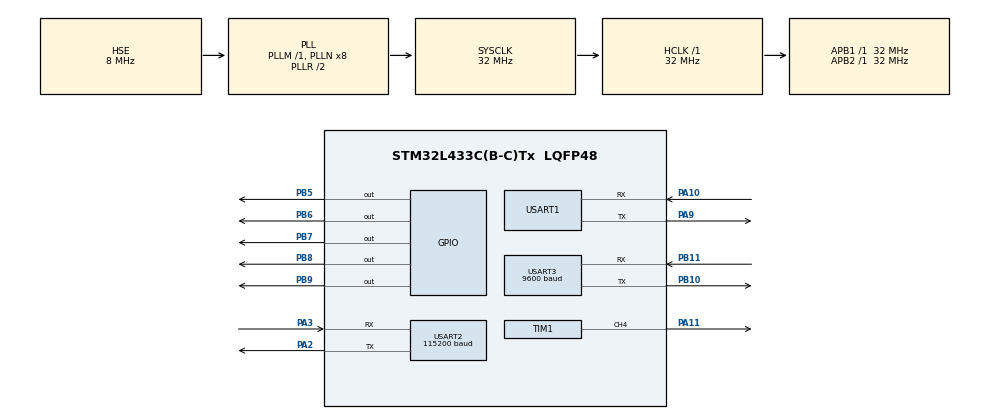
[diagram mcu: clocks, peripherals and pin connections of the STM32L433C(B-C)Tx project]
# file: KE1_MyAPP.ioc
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Mcu.Family=STM32L4
NVIC.USART3_IRQn=true\:1\:0\:true\:false\:true\:true\:true
RCC.MSI_VALUE=4000000
RCC.PLLSourceVirtual=RCC_PLLSOURCE_HSE
SH.S_TIM1_CH4.0=TIM1_CH4,PWM Generation4 CH4
RCC.CortexFreq_Value=32000000
TIM1.OCPolarity_4=TIM_OCPOLARITY_LOW
PA10.Mode=Asynchronous
PB10.Mode=Asynchronous
PH0-OSC_IN\ (PH0).Signal=RCC_OSC_IN
PC15-OSC32_OUT\ (PC15).Signal=RCC_OSC32_OUT
PC15-OSC32_OUT\ (PC15).Mode=LSE-External-Oscillator
PB11.Signal=USART3_RX
NVIC.USART2_IRQn=true\:3\:0\:true\:false\:true\:true\:true
USART2.BaudRate=115200
PH1-OSC_OUT\ (PH1).Signal=RCC_OSC_OUT
RCC.SYSCLKSource=RCC_SYSCLKSOURCE_PLLCLK
ProjectManager.StackSize=0x400
PC14-OSC32_IN\ (PC14).Mode=LSE-External-Oscillator
USART3.VirtualMode-Asynchronous=VM_ASYNC
USART1.VirtualMode-Asynchronous=VM_ASYNC
PA3.Mode=Asynchronous
TIM1.AutoReloadPreload=TIM_AUTORELOAD_PRELOAD_ENABLE
PA9.Mode=Asynchronous
TIM1.Prescaler=3200-1
USART3.BaudRate=9600
PB11.Mode=Asynchronous
ProjectManager.TargetToolchain=STM32CubeIDE
TIM1.Channel-PWM\ Generation4\ CH4=TIM_CHANNEL_4
RCC.HCLKFreq_Value=32000000
RCC.APB2TimFreq_Value=32000000
PA9.Signal=USART1_TX
PB6.Signal=GPIO_Output
PB5.PinState=GPIO_PIN_SET
RCC.USBFreq_Value=32000000
RCC.AHBFreq_Value=32000000
PB10.Signal=USART3_TX
PH1-OSC_OUT\ (PH1).Mode=HSE-External-Oscillator
RCC.HSE_VALUE=8000000
board=custom
USART2.VirtualMode-Asynchronous=VM_ASYNC
RCC.VCOOutputFreq_Value=64000000
RCC.APB2Freq_Value=32000000
RCC.ADCFreq_Value=32000000
PB7.Signal=GPIO_Output
Mcu.Name=STM32L433C(B-C)Tx
VP_TIM1_VS_ClockSourceINT.Mode=Internal
PA2.Signal=USART2_TX
PB7.PinState=GPIO_PIN_SET
RCC.SYSCLKFreq_VALUE=32000000
Mcu.Package=LQFP48
PB5.Signal=GPIO_Output
PB9.Signal=GPIO_Output
PC14-OSC32_IN\ (PC14).Signal=RCC_OSC32_IN
PB6.PinState=GPIO_PIN_SET
PA11.Signal=S_TIM1_CH4
PA10.Signal=USART1_RX
ProjectManager.HeapSize=0x200
TIM1.Pulse-PWM\ Generation4\ CH4=190
RCC.HSI_VALUE=16000000
NVIC.PriorityGroup=NVIC_PRIORITYGROUP_4
RCC.APB1TimFreq_Value=32000000
PB8.Signal=GPIO_Output
PA2.Mode=Asynchronous
TIM1.Period=200-1
RCC.APB1Freq_Value=32000000
PH0-OSC_IN\ (PH0).Mode=HSE-External-Oscillator
RCC.HSI48_VALUE=48000000
PA3.Signal=USART2_RX

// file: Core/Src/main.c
/* USER CODE BEGIN Header */
/**
  ******************************************************************************
  * @file           : main.c
  * @brief          : Main program body
  ******************************************************************************
  * @attention
  *
  * <h2><center>&copy; Copyright (c) 2021 STMicroelectronics.
  * All rights reserved.</center></h2>
  *
  * This software component is licensed by ST under BSD 3-Clause license,
  * the "License"; You may not use this file except in compliance with the
  * License. You may obtain a copy of the License at:
  *                        opensource.org/licenses/BSD-3-Clause
  *
  ******************************************************************************
  */
/* USER CODE END Header */
#include "main.h"
#include "tim.h"
#include "usart.h"
#include "gpio.h"

/* USER CODE BEGIN Includes */
#include <stdio.h>
#include <string.h>

#include "oled.h"
/* USER CODE END Includes */

void SystemClock_Config(void);

int main(void)
{
  /* USER CODE BEGIN 1 */
//  uint8_t aucData[128] = {0};
//  uint16_t usReadLen = 0, usReadTimeout = 1000;
  /* USER CODE END 1 */

  /* MCU Configuration--------------------------------------------------------*/

  /* Reset of all peripherals, Initializes the Flash interface and the Systick. */
  HAL_Init();

  /* Configure the system clock */
  SystemClock_Config();

  /* Initialize all configured peripherals */
  MX_GPIO_Init();
  MX_USART1_UART_Init();
  MX_USART2_UART_Init();
  MX_USART3_UART_Init();
  MX_TIM1_Init();
  /* USER CODE BEGIN 2 */
  UART_Enable_Receive_IT();

  /* USER CODE END 2 */

  /* Infinite loop */
  /* USER CODE BEGIN WHILE */
  printf("Hello my APP v0.0.2\r\n");

  OLED_Init();
  OLED_DrawLogo();

  HAL_Delay(1000);
  OLED_Clear();
  OLED_Show_MyBilibili();
  HAL_Delay(1000);

  PWM_Servo_Start(90);
  HAL_Delay(100);
  while (1)
  {
    /* USER CODE END WHILE */

    /* USER CODE BEGIN 3 */
    HAL_Delay(350);

    PWM_Servo_Start(45);
    HAL_Delay(350);
    PWM_Servo_Start(135);
    HAL_Delay(350);
    PWM_Servo_Stop();

  }
  /* USER CODE END 3 */
}

void SystemClock_Config(void)
{
  RCC_OscInitTypeDef RCC_OscInitStruct = {0};
  RCC_ClkInitTypeDef RCC_ClkInitStruct = {0};
  RCC_PeriphCLKInitTypeDef PeriphClkInit = {0};

  /** Initializes the RCC Oscillators according to the specified parameters
  * in the RCC_OscInitTypeDef structure.
  */
  RCC_OscInitStruct.OscillatorType = RCC_OSCILLATORTYPE_HSE;
  RCC_OscInitStruct.HSEState = RCC_HSE_ON;
  RCC_OscInitStruct.PLL.PLLState = RCC_PLL_ON;
  RCC_OscInitStruct.PLL.PLLSource = RCC_PLLSOURCE_HSE;
  RCC_OscInitStruct.PLL.PLLM = 1;
  RCC_OscInitStruct.PLL.PLLN = 8;
  RCC_OscInitStruct.PLL.PLLP = RCC_PLLP_DIV7;
  RCC_OscInitStruct.PLL.PLLQ = RCC_PLLQ_DIV2;
  RCC_OscInitStruct.PLL.PLLR = RCC_PLLR_DIV2;
  if (HAL_RCC_OscConfig(&RCC_OscInitStruct) != HAL_OK)
  {
    Error_Handler();
  }
  /** Initializes the CPU, AHB and APB buses clocks
  */
  RCC_ClkInitStruct.ClockType = RCC_CLOCKTYPE_HCLK|RCC_CLOCKTYPE_SYSCLK
                              |RCC_CLOCKTYPE_PCLK1|RCC_CLOCKTYPE_PCLK2;
  RCC_ClkInitStruct.SYSCLKSource = RCC_SYSCLKSOURCE_PLLCLK;
  RCC_ClkInitStruct.AHBCLKDivider = RCC_SYSCLK_DIV1;
  RCC_ClkInitStruct.APB1CLKDivider = RCC_HCLK_DIV1;
  RCC_ClkInitStruct.APB2CLKDivider = RCC_HCLK_DIV1;

  if (HAL_RCC_ClockConfig(&RCC_ClkInitStruct, FLASH_LATENCY_1) != HAL_OK)
  {
    Error_Handler();
  }
  PeriphClkInit.PeriphClockSelection = RCC_PERIPHCLK_USART1|RCC_PERIPHCLK_USART2
                              |RCC_PERIPHCLK_USART3;
  PeriphClkInit.Usart1ClockSelection = RCC_USART1CLKSOURCE_PCLK2;
  PeriphClkInit.Usart2ClockSelection = RCC_USART2CLKSOURCE_PCLK1;
  PeriphClkInit.Usart3ClockSelection = RCC_USART3CLKSOURCE_PCLK1;
  if (HAL_RCCEx_PeriphCLKConfig(&PeriphClkInit) != HAL_OK)
  {
    Error_Handler();
  }
  /** Configure the main internal regulator output voltage
  */
  if (HAL_PWREx_ControlVoltageScaling(PWR_REGULATOR_VOLTAGE_SCALE1) != HAL_OK)
  {
    Error_Handler();
  }
}

void Error_Handler(void)
{
  __disable_irq();
  while (1)
  {
  }
}

/************************ (C) COPYRIGHT STMicroelectronics *****END OF FILE****/
